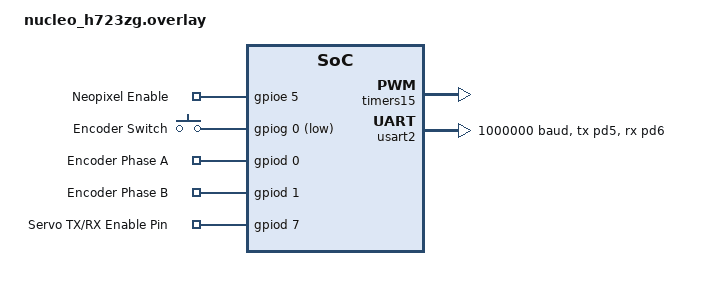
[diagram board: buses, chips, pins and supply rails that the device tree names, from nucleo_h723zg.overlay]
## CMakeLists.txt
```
cmake_minimum_required(VERSION 3.20.0)
find_package(Zephyr REQUIRED HINTS $ENV{ZEPHYR_BASE})
project(minimal_nucleo)
target_sources(app PRIVATE src/main.c src/st3215.c)
```

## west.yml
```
manifest:
  remotes:
    - name: zephyrproject-rtos
      url-base: https://github.com/zephyrproject-rtos
  projects:
    - name: zephyr
      remote: zephyrproject-rtos
      revision: main
      import:
        name-allowlist:
          - hal_stm32  
          - cmsis      
          - cmsis_6   
  self:
    path: appRedPropulsion
```

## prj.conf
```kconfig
CONFIG_GPIO=y
CONFIG_DEBUG=y
CONFIG_UART_CONSOLE=y
CONFIG_UART_STM32=y
CONFIG_LOG=y
CONFIG_LOG_BACKEND_UART=y
```

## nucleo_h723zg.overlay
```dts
#include <zephyr/dt-bindings/pwm/pwm.h>

/*-----          example of dts node:          -----*/
/{
    neopixel_enable: neopixel-enable {
        compatible = "gpio-keys";
        neopixel_en: neopixel_en {
            gpios = <&gpioe 5 GPIO_ACTIVE_HIGH>;
            label = "Neopixel Enable";
        };
    };

    rotary_encoder: rotary_encoder {
        compatible = "gpio-keys";
        encoder_s: encoder_switch {
            gpios = <&gpiog 0 (GPIO_PULL_UP | GPIO_ACTIVE_LOW)>;
            label = "Encoder Switch";
        };
        encoder_a: encoder_a {
            gpios = <&gpiod 0 (GPIO_PULL_UP | GPIO_ACTIVE_HIGH)>;
            label = "Encoder Phase A";
        };
        encoder_b: encoder_b {
            gpios = <&gpiod 1 (GPIO_PULL_UP | GPIO_ACTIVE_HIGH)>;
            label = "Encoder Phase B";
        };
    };

    servo_hardware: servo_hardware {
        compatible = "gpio-keys";
        enable_pin: enable_pin {
            gpios = <&gpiod 7 GPIO_ACTIVE_HIGH>; /* PD7 pin */
            label = "Servo TX/RX Enable Pin";
        };
    };
};

&timers15 {
    status = "okay";
    st,prescaler = <1>;

    pwm15: pwm {
        status = "okay";
        pinctrl-0 = <&tim15_ch1n_pe4>; /* TIM15_CH1N on PE4, it exists only negated */
        pinctrl-names = "default";
    };
};

/* UART config for the ST3215 Servo */
&pinctrl {
    uart2_tx_pd5: uart2_tx_pd5 {
        pinmux = <STM32_PINMUX('D', 5, AF7)>; /* PD5 as UART2_TX */
    };

    uart2_rx_pd6: uart2_rx_pd6 {
        pinmux = <STM32_PINMUX('D', 6, AF7)>; /* PD6 as UART2_RX */
    };
};

&usart2 {
    pinctrl-0 = <&uart2_tx_pd5 &uart2_rx_pd6>;
    pinctrl-names = "default";
    current-speed = <1000000>; /* 1 Mbps for ST3215 */
    status = "okay";
};
```

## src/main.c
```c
#include <zephyr/kernel.h>
#include <zephyr/drivers/gpio.h>
#include <zephyr/logging/log.h>
#include "st3215.h" 

LOG_MODULE_REGISTER(main, LOG_LEVEL_INF);

#define LED0_NODE DT_ALIAS(led0)
static const struct gpio_dt_spec led = GPIO_DT_SPEC_GET(LED0_NODE, gpios);

struct st3215_device servo = {
    // DEVICE_DT_GET looks for the node "&usart2" in the device tree
    .uart_dev = DEVICE_DT_GET(DT_NODELABEL(usart2)), 
    
    // GPIO_DT_SPEC_GET looks for the node "enable_pin" and takes its "gpios" property
    .enable_pin = GPIO_DT_SPEC_GET(DT_NODELABEL(enable_pin), gpios) 
};

int main(void) {
    int ret;

    if (!gpio_is_ready_dt(&led)) {
        LOG_ERR("LED not ready!");
        return 0;
    }
    gpio_pin_configure_dt(&led, GPIO_OUTPUT_ACTIVE);

    LOG_INF("Starting ST3215 driver initialization...");
    
    ret = st3215_init(&servo); 
    if (ret < 0) {
        LOG_ERR("Error: failed to initialize the servo (Code: %d)", ret);
        return 0;
    }

    LOG_INF("Running PING on the servo...");
    ret = st3215_ping(&servo);
    if (ret == 0) {
        LOG_INF("PING completed successfully. Servo is responsive.");
    } else {
        LOG_ERR("PING failed (Code: %d)", ret);
        return 0; // uncomment if you still want to continue even if the ping fails
    }

    LOG_INF("System ready. Starting main loop...");

    uint16_t target_angle = 1000; // between 0 and 4095, where 0 is 0 deg and 4095 is 360 de
    uint16_t current_angle = 0;

    while (1) {
        gpio_pin_toggle_dt(&led);

        st3215_set_angle(&servo, target_angle);

        k_msleep(500); // wait for the servo to move to the target position

        if (st3215_get_angle(&servo, &current_angle) == 0) {
            LOG_INF("Current position read: %d", current_angle);
        }

        target_angle = (current_angle == 1000) ? 3000 : 1000;
        
        k_msleep(2000);
    }

    return 0;
}
```

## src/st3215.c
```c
#include "st3215.h"
#include <zephyr/logging/log.h>

// zepyhr logger for the driver, useful for debugging
LOG_MODULE_REGISTER(st3215_servo, LOG_LEVEL_DBG);

/** @brief Calculates the checksum of the ST3215 packet. The checksum is the bitwise NOT of the sum of the bytes starting from the ID.
 * @param packet The packet for which to calculate the checksum.
 * @param total_length The total length of the packet (including header and checksum).
 * @return The calculated checksum byte.
 */
static uint8_t st3215_calc_checksum(uint8_t *packet, uint8_t total_length) {
    uint32_t sum = 0;
    // sums all the bytes starting from the ID (index 2) up to the last byte before the checksum
    for (int i = 2; i < total_length - 1; i++) {
        sum += packet[i];
    }
    return (uint8_t)(~sum); // NOT bit a bit
}

int st3215_init(struct st3215_device *dev) {
    LOG_INF("Initializing ST3215 Servo Driver...");

    // check if the UART device (PD5/PD6) is ready to be used
    if (!device_is_ready(dev->uart_dev)) {
        LOG_ERR("UART device not ready");
        return -ENODEV; // Error: No Device
    }

    // check if the GPIO pin (PD7) is ready
    if (!gpio_is_ready_dt(&dev->enable_pin)) {
        LOG_ERR("Direction control GPIO not ready");
        return -ENODEV;
    }

    // configure the Enable pin as an OUTPUT and set it to LOW initially.
    // LOW means "listen" mode (RX active, TX disabled).
    int ret = gpio_pin_configure_dt(&dev->enable_pin, GPIO_OUTPUT_INACTIVE);
    if (ret < 0) {
        LOG_ERR("Failed to configure direction control GPIO");
        return ret;
    }

    LOG_INF("ST3215 Servo Driver initialized successfully");
    return 0;
}

/**
 * @brief Sends a PING command to verify if the servo is connected and responsive.
 * @param dev Pointer to the ST3215 device structure.
 * @return 0 if the servo responds correctly, a negative error code otherwise. 
 */
int st3215_ping(struct st3215_device *dev) {
    uint8_t request[6];
    uint8_t response[6];
    
    request[0] = ST3215_HEADER;
    request[1] = ST3215_HEADER;
    request[2] = ST3215_ID_DEFAULT;
    request[3] = 0x02;             // remaining packet  length (2 bytes: ping instruction + checksum)
    request[4] = ST3215_INST_PING; // 0x01
    request[5] = st3215_calc_checksum(request, 6);

    // TX Mode: setting the PD7 enable pin HIGH to send data to the servo
    gpio_pin_set_dt(&dev->enable_pin, 1);

    // send the ping packet byte by byte through UART
    for (int i = 0; i < 6; i++) {
        uart_poll_out(dev->uart_dev, request[i]);
    }

    k_usleep(50); // wait to ensure the packet is sent before switching to receive mode

    // RX Mode: setting the PD7 pin back to 0 to listen for the servo's response
    gpio_pin_set_dt(&dev->enable_pin, 0);

    // response handling with timeout
    int bytes_received = 0;
    int attempts = 0;
    while (bytes_received < 6 && attempts < 1000) {
        unsigned char c;
        if (uart_poll_in(dev->uart_dev, &c) == 0) {
            response[bytes_received++] = c;
        } else {
            attempts++;
            k_usleep(10);
        }
    }
    // response structure: [0xFF, 0xFF, ID, Len, Status, Checksum]

    // response checks
    if (bytes_received < 6) {
        LOG_ERR("PING failed: timeout receiving data (only %d bytes received)", bytes_received);
        return -ETIMEDOUT;
    }
    if (response[0] != 0xFF || response[1] != 0xFF) {
        LOG_ERR("PING failed: invalid headers!");
        return -EIO;
    }
    if (response[2] != ST3215_ID_DEFAULT) {
        LOG_ERR("PING failed: incorrect ID!");
        return -EIO;
    }
    if (response[4] != 0) { // see doc page 3 for the meaning of the status byte
        LOG_WRN("PING response error! Status Byte: 0x%02X", response[4]);
    }
    uint8_t rx_checksum = st3215_calc_checksum(response, 6);
    if (rx_checksum != response[5]) {
        LOG_ERR("PING failed: checksum response not valid! (calculated: 0x%02X, Received: 0x%02X)", rx_checksum, response[5]);
        return -EBADMSG;
    }

    return 0;
}

/**
 * @brief Sets the angle of the ST3215 servo.
 * @param dev Pointer to the ST3215 device.
 * @param angle Desired angle (0-4095).
 * @return 0 on success, a negative value on error.
 */
int st3215_set_angle(struct st3215_device *dev, uint16_t angle) {
    uint8_t packet[9];
    // since the angle input parameter is 16-bit, we need to split it into two bytes for the packet
    uint8_t angle_low = angle & 0xFF;
    uint8_t angle_high = (angle >> 8) & 0xFF;

    packet[0] = ST3215_HEADER;
    packet[1] = ST3215_HEADER;
    packet[2] = ST3215_ID_DEFAULT;   
    packet[3] = 0x05;   // remaining packet length (5 bytes: Instruction + Address + Data Length + 2 bytes of angle + Checksum)
    packet[5] = ST3215_REG_GOAL_POS;
    packet[6] = angle_low;
    packet[7] = angle_high;
    packet[8] = st3215_calc_checksum(packet, 9);

    LOG_INF("Sending angle command: %d (Checksum: 0x%02X)", angle, packet[8]);

    gpio_pin_set_dt(&dev->enable_pin, 1); // TX Mode to send data

    for (int i = 0; i < 9; i++) {
        uart_poll_out(dev->uart_dev, packet[i]); // writes byte by byte to the UART
    }

    k_usleep(100);
    gpio_pin_set_dt(&dev->enable_pin, 0); // back to RX mode after sending 

    return 0;
}

/**
    * @brief Reads the current angle of the ST3215 servo.
    * @param dev Pointer to the ST3215 device.
    * @param angle Pointer to store the read angle.
    * @return 0 on success, a negative value on error.
*/
int st3215_get_angle(struct st3215_device *dev, uint16_t *angle) {
    uint8_t request[8];
    uint8_t response[8];
    
    // preparing the read packet to request the current angle from the servo
    request[0] = ST3215_HEADER;
    request[1] = ST3215_HEADER;
    request[2] = ST3215_ID_DEFAULT;
    request[3] = 0x04; // remaining packet length (4 bytes: Instruction + Address + Data Length + Checksum)
    request[4] = ST3215_INST_READ;
    request[5] = ST3215_REG_PRESENT_POS;
    request[6] = 0x02; // we want to read 2 bytes (the angle is 16-bit) starting from the position specified in request[5]
    request[7] = st3215_calc_checksum(request, 8);

    gpio_pin_set_dt(&dev->enable_pin, 1); // TX Mode to send data
    for (int i = 0; i < 8; i++) {
        uart_poll_out(dev->uart_dev, request[i]);
    }
    
    // sleep to make sure the data is sent before switching to receive mode
    k_usleep(50); 

    gpio_pin_set_dt(&dev->enable_pin, 0); // RX Mode to receive data

    // handle servo's answer and eventual timeout
    int bytes_received = 0;
    int attempts = 0;
    const int MAX_ATTEMPTS = 1000; // timeout after 1000 attempts

    while (bytes_received < 8 && attempts < MAX_ATTEMPTS) {
        unsigned char c;
        if (uart_poll_in(dev->uart_dev, &c) == 0) {
            response[bytes_received++] = c;
        } else {
            attempts++;
            k_usleep(10); // waits 10 microseconds before trying again to receive data
        }
    }

    if (bytes_received < 8) {
        LOG_ERR("Error: timeout receiving data (only %d bytes received)", bytes_received);
        return -ETIMEDOUT;
    }
    // response structure: [0xFF, 0xFF, ID, Len, Status, Val_LOW, Val_HIGH, Checksum]
    
    // response checks    
    if (response[0] != 0xFF || response[1] != 0xFF) {
        LOG_ERR("Errore: invalid headers!");
        return -EIO;
    }
    if (response[2] != ST3215_ID_DEFAULT) {
    LOG_ERR("Errore: Risposta da ID inatteso (Ricevuto: %d)", response[2]);
    return -EIO;
    }
    if (response[4] != 0) { // see doc page 3 for the meaning of the status byte
        LOG_WRN("Response Error! Status Byte: 0x%02X", response[4]);
    }

    // checks the checksum of the received packet to verify data integrity
    uint8_t rx_checksum = st3215_calc_checksum(response, 8);
    if (rx_checksum != response[7]) {
        LOG_ERR("Error: checksum response not valid! (calculated: 0x%02X, Received: 0x%02X)", 
                rx_checksum, response[7]);
        return -EBADMSG;
    }

    // reconstruction of the angle (combining the two bytes)
    *angle = response[5] | (response[6] << 8);

    return 0;
}
```

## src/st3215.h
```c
#ifndef ST3215_H
#define ST3215_H

#include <zephyr/kernel.h>
#include <zephyr/drivers/uart.h>
#include <zephyr/drivers/gpio.h>

#define ST3215_HEADER         0xFF
#define ST3215_ID_DEFAULT     0x01

// instruction commands
#define ST3215_INST_PING      0x01
#define ST3215_INST_READ      0x02
#define ST3215_INST_WRITE     0x03

// memory registers
#define ST3215_REG_GOAL_POS   0x2A  // address to set angle
#define ST3215_REG_PRESENT_POS 0x38 // address to read angle


// struct to define important parameters of the servo
struct st3215_device {
    const struct device *uart_dev;  // pointer to the UART hardware (PD5, PD6)
    struct gpio_dt_spec enable_pin; // the direction control Pin (PD7)
};

/**
 * @brief Initializes the hardware pins for the servo.
 */
int st3215_init(struct st3215_device *dev);

/**
 * @brief Sends a PING command to verify if the servo is connected.
 * @return 0 if the servo responds correctly, error code otherwise.
 */
int st3215_ping(struct st3215_device *dev);

/**
 * @brief Commands the servo to move to a specific angle.
 * @param angle The target angle (usually 0 to 4095 for these servos).
 */
int st3215_set_angle(struct st3215_device *dev, uint16_t angle);

/**
 * @brief Reads the current physical angle of the servo.
 * @param angle Pointer to store the read angle.
 */
int st3215_get_angle(struct st3215_device *dev, uint16_t *angle);

#endif
```
